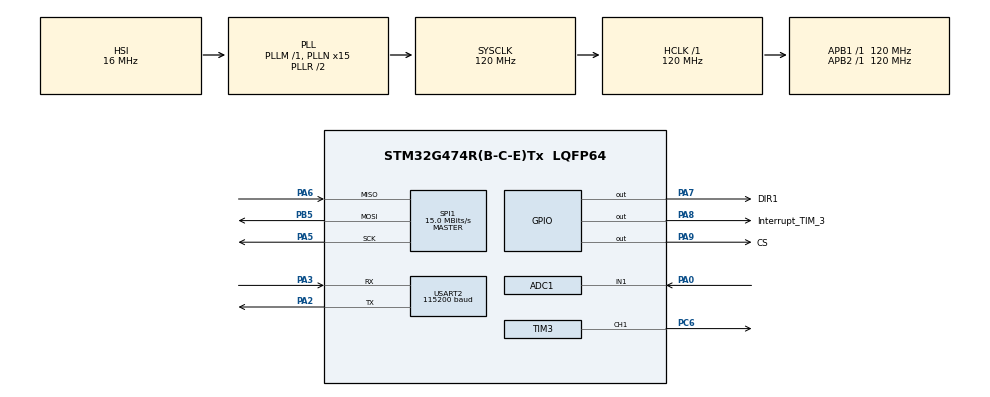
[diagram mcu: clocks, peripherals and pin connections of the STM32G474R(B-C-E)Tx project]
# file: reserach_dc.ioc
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ADC1.Channel-0\#ChannelRegularConversion=ADC_CHANNEL_1
ADC1.DMAContinuousRequests=ENABLE
ADC1.ExternalTrigConv=ADC_SOFTWARE_START
ADC1.NbrOfConversionFlag=1
ADC1.OffsetNumber-0\#ChannelRegularConversion=ADC_OFFSET_NONE
ADC1.Rank-0\#ChannelRegularConversion=1
ADC1.SamplingTime-0\#ChannelRegularConversion=ADC_SAMPLETIME_24CYCLES_5
ADC1.master=1
Dma.ADC1.0.Direction=DMA_PERIPH_TO_MEMORY
Dma.ADC1.0.EventEnable=DISABLE
Dma.ADC1.0.Instance=DMA1_Channel1
Dma.ADC1.0.MemDataAlignment=DMA_MDATAALIGN_HALFWORD
Dma.ADC1.0.MemInc=DMA_MINC_ENABLE
Dma.ADC1.0.Mode=DMA_CIRCULAR
Dma.ADC1.0.PeriphDataAlignment=DMA_PDATAALIGN_HALFWORD
Dma.ADC1.0.PeriphInc=DMA_PINC_DISABLE
Dma.ADC1.0.Polarity=HAL_DMAMUX_REQ_GEN_RISING
Dma.ADC1.0.Priority=DMA_PRIORITY_LOW
Dma.ADC1.0.RequestNumber=1
Dma.ADC1.0.SignalID=NONE
Dma.ADC1.0.SyncEnable=DISABLE
Dma.ADC1.0.SyncPolarity=HAL_DMAMUX_SYNC_NO_EVENT
Dma.ADC1.0.SyncRequestNumber=1
Dma.ADC1.0.SyncSignalID=NONE
Dma.Request0=ADC1
Mcu.Family=STM32G4
Mcu.Name=STM32G474R(B-C-E)Tx
Mcu.Package=LQFP64
NVIC.DMA1_Channel1_IRQn=true\:0\:0\:false\:false\:true\:false\:true\:true
NVIC.PriorityGroup=NVIC_PRIORITYGROUP_4
NVIC.TIM3_IRQn=true\:0\:0\:false\:false\:true\:true\:true\:true
PA0.Mode=IN1-Single-Ended
PA0.Signal=ADC1_IN1
PA13.Mode=Serial_Wire
PA13.Signal=SYS_JTMS-SWDIO
PA14.Mode=Serial_Wire
PA14.Signal=SYS_JTCK-SWCLK
PA2.Mode=Asynchronous
PA2.Signal=USART2_TX
PA3.Mode=Asynchronous
PA3.Signal=USART2_RX
PA5.Mode=Full_Duplex_Master
PA5.Signal=SPI1_SCK
PA6.Mode=Full_Duplex_Master
PA6.Signal=SPI1_MISO
PA7.GPIO_Label=DIR1
PA7.Signal=GPIO_Output
PA8.GPIO_Label=Interrupt_TIM_3
PA8.Signal=GPIO_Output
PA9.GPIO_Label=CS
PA9.GPIO_Speed=GPIO_SPEED_FREQ_VERY_HIGH
PA9.Signal=GPIO_Output
PB5.Mode=Full_Duplex_Master
PB5.Signal=SPI1_MOSI
PC6.Signal=S_TIM3_CH1
PF0-OSC_IN.Mode=HSE-External-Oscillator
PF0-OSC_IN.Signal=RCC_OSC_IN
PF1-OSC_OUT.Mode=HSE-External-Oscillator
PF1-OSC_OUT.Signal=RCC_OSC_OUT
ProjectManager.HeapSize=0x200
ProjectManager.StackSize=0x400
ProjectManager.TargetToolchain=STM32CubeIDE
RCC.ADC12Freq_Value=120000000
RCC.ADC345Freq_Value=120000000
RCC.AHBFreq_Value=120000000
RCC.APB1Freq_Value=120000000
RCC.APB1TimFreq_Value=120000000
RCC.APB2Freq_Value=120000000
RCC.APB2TimFreq_Value=120000000
RCC.CortexFreq_Value=120000000
RCC.EXTERNAL_CLOCK_VALUE=12288000
RCC.HCLKFreq_Value=120000000
RCC.HSE_VALUE=8000000
RCC.HSI48_VALUE=48000000
RCC.HSI_VALUE=16000000
RCC.LSE_VALUE=32768
RCC.PLLN=15
RCC.SYSCLKFreq_VALUE=120000000
RCC.SYSCLKSource=RCC_SYSCLKSOURCE_PLLCLK
RCC.USBFreq_Value=120000000
RCC.VCOOutputFreq_Value=240000000
SH.S_TIM3_CH1.0=TIM3_CH1,PWM Generation1 CH1
SPI1.BaudRatePrescaler=SPI_BAUDRATEPRESCALER_8
SPI1.CLKPhase=SPI_PHASE_2EDGE
SPI1.CLKPolarity=SPI_POLARITY_LOW
SPI1.CalculateBaudRate=15.0 MBits/s
SPI1.DataSize=SPI_DATASIZE_16BIT
SPI1.Direction=SPI_DIRECTION_2LINES
SPI1.Mode=SPI_MODE_MASTER
SPI1.VirtualType=VM_MASTER
TIM3.Channel-PWM\ Generation1\ CH1=TIM_CHANNEL_1
TIM3.PeriodNoDither=999
TIM3.Prescaler=11
TIM3.PulseNoDither_1=500
TIM3.TIM_MasterOutputTrigger=TIM_TRGO_UPDATE
USART2.BaudRate=115200
USART2.VirtualMode-Asynchronous=VM_ASYNC
VP_SYS_VS_DBSignals.Mode=DisableDeadBatterySignals
VP_TIM3_VS_ClockSourceINT.Mode=Internal
board=custom

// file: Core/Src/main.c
/* USER CODE BEGIN Header */
/**
  ******************************************************************************
  * @file           : main.c
  * @brief          : Main program body
  ******************************************************************************
  * @attention
  *
  * Copyright (c) 2025 STMicroelectronics.
  * All rights reserved.
  *
  * This software is licensed under terms that can be found in the LICENSE file
  * in the root directory of this software component.
  * If no LICENSE file comes with this software, it is provided AS-IS.
  *
  ******************************************************************************
  */
/* USER CODE END Header */
#include "main.h"

/* USER CODE BEGIN Includes */
#include <stdio.h> // для vsnprintf
#include <stdarg.h> // для va_list, va_start, va_end
#include <string.h> // для strlen
#include <stdlib.h> // math_lib
#include <math.h> // if (fabsf(delta_grad) > 180.0f)
/* USER CODE END Includes */

/* USER CODE BEGIN PD */
#define adc_arr_n 1
#define adc_count_n 10
/* USER CODE END PD */

ADC_HandleTypeDef hadc1;
DMA_HandleTypeDef hdma_adc1;

SPI_HandleTypeDef hspi1;

TIM_HandleTypeDef htim3;

UART_HandleTypeDef huart2;

/* USER CODE BEGIN PV */

//Чтение АЦП
uint16_t adcbuf[adc_arr_n]; // здесь массив значений ацп
uint16_t adc_accum = 0;
float Vref = 3.3f;
float adcdiskr = 4095.0f;
float sens_cur = 0.185f; //ACS712 5A
float Vzero = 2.5f;
float Vadc_zero;
float Vadc;
float I;
float offset;

//Счётчики
uint16_t adc_count = 0;

//Флаги
uint8_t  tick;
uint8_t	 ticks_init;
uint8_t  buffer_complete; // флаг на то, что массив готов

//SPI
uint16_t command, feedback;

//Расчет угла и скорости
float prev_angle_deg = 0.0f;
float delta = 0.0f;
uint16_t meow = 0 ; // отладочная переменная для тиков
float angle_deg = 0;
float delta_grad = 0.0f;

//-------Контур тока--------
float i_ref;

//Te = 0.001

//float Kp_i = 0.3818;
//float Ki_i = 0.1234;

//Te = 0.01

//float Kp_i = 0.0118;
//float Ki_i = 0.0038;

//Te = 0.05

float Kp_i = 0.0024;
float Ki_i = 7.6364e-4;

float er_i;
float u_i;
float Int_e_i = 0.0f;

// ----------Контур скорости--------------
//default
float n_ref;
float Kp = 4.55e-5f;
float Ki = 2.6e-6f;
float er;
float u;
float Int_e = 0.0f;
uint16_t tick_counter = 0;

//для Te = 0.05
float о = 0.25;
float Kp_w = 0.0032;
float Ki_w = 0.00001f;
float Int_e_w = 0.0f;

//Отладочные переменные
uint8_t adc_fault_init_calibr = 0;
uint8_t adc_start_failed = 0;
uint8_t calibration_poll_timeout = 0;
uint8_t calibration_done = 0;
uint8_t reinit = 0;

/* USER CODE END PV */

void SystemClock_Config(void);
static void MX_GPIO_Init(void);
static void MX_DMA_Init(void);
static void MX_ADC1_Init(void);
static void MX_TIM3_Init(void);
static void MX_USART2_UART_Init(void);
static void MX_SPI1_Init(void);
/* USER CODE BEGIN PFP */

//для print по usart, обращаем внимание на выбранный usart
void uprintf(const char *fmt, ...) {
    char buffer[128]; // временный буфер
    va_list args;
    va_start(args, fmt);
    vsnprintf(buffer, sizeof(buffer), fmt, args);
    va_end(args);
    HAL_UART_Transmit(&huart2, (uint8_t*)buffer, strlen(buffer), HAL_MAX_DELAY);
}

//функция sign

float sign(float x) {
    if (x > 0) return 1.0f;
    if (x < 0) return -1.0f;
    return 0.0f;
}
//функция инициализирует угол. то есть до начала цикла в переменной предыдущего угла кладется значение с энкодера
 float Prev_angle_Init () {

		command = 0xFFFF;
		HAL_GPIO_WritePin(GPIOA, GPIO_PIN_9, GPIO_PIN_RESET); // CS LOW
		HAL_SPI_TransmitReceive(&hspi1, (uint8_t*)&command, (uint8_t*)&feedback, 1, 100);
		HAL_GPIO_WritePin(GPIOA, GPIO_PIN_9, GPIO_PIN_SET);   // CS HIGH

		command = 0xFFFF;
		HAL_GPIO_WritePin(GPIOA, GPIO_PIN_9, GPIO_PIN_RESET); // CS LOW
		HAL_SPI_TransmitReceive(&hspi1, (uint8_t*)&command, (uint8_t*)&feedback, 1, 100);
		HAL_GPIO_WritePin(GPIOA, GPIO_PIN_9, GPIO_PIN_SET);   // CS HIGH

		uint16_t raw = feedback & 0x3FFF; // 14 бит
		angle_deg = (raw * 360.0f) / 16384.0f;
		prev_angle_deg = angle_deg;

	  return (prev_angle_deg);
}
// функция выбора направления двигателя в зависимости от знака управления
void mode_direction(float u){
	if (u >= 0.0f){
		HAL_GPIO_WritePin(GPIOA, DIR1_Pin, GPIO_PIN_RESET); //forward
		}
	else {
		HAL_GPIO_WritePin(GPIOA, DIR1_Pin, GPIO_PIN_SET); //reverse
	}
}

void mode_direction_i(float u_i){
	if (u_i >= 0.0f){
		HAL_GPIO_WritePin(GPIOA, DIR1_Pin, GPIO_PIN_RESET); //forward
		}
	else {
		HAL_GPIO_WritePin(GPIOA, DIR1_Pin, GPIO_PIN_SET); //reverse
	}
}
// функция ограничения интеграла и управления

float saturation(float x, float y){
if (fabsf(x) >= y){
	x = y * sign(x);
}
return x;
}

float ADC_autocalibrate(void)
{
    // --- сохранить старые настройки ---
    uint32_t oldTrig    = hadc1.Init.ExternalTrigConv;
    uint32_t oldTrigEdge = hadc1.Init.ExternalTrigConvEdge;

    // --- временно софтовый запуск ---
    hadc1.Init.ExternalTrigConv     = ADC_SOFTWARE_START;
    hadc1.Init.ExternalTrigConvEdge = ADC_EXTERNALTRIGCONVEDGE_NONE;
    if (HAL_ADC_Init(&hadc1) != HAL_OK) {
       adc_fault_init_calibr = 1;

        return 0.0f;
    }

	uint32_t adc_value_calibr = 0;
	int i;
	for (i = 0; i < 200; i++) {
        if (HAL_ADC_Start(&hadc1) != HAL_OK) {
        	adc_start_failed = 1;
            continue;
        }

	    if (HAL_ADC_PollForConversion(&hadc1, 10) != HAL_OK) {
	    	calibration_poll_timeout = 1;
	        continue;
	    }

	    adc_value_calibr += HAL_ADC_GetValue(&hadc1);

	  }
	  float adc_zero_value = (float)adc_value_calibr / 200.0f;
	  Vadc_zero = (adc_zero_value / adcdiskr) * Vref;
	  calibration_done = 1;

	  // --- вернуть старые настройки (TIM3 TRGO) ---
	 hadc1.Init.ExternalTrigConv     = oldTrig;
	 hadc1.Init.ExternalTrigConvEdge = oldTrigEdge;
	  if (HAL_ADC_Init(&hadc1) != HAL_OK) {
	    reinit = 1;
	    }
	  return Vadc_zero;

}

/* USER CODE END PFP */

int main(void)
{

  /* MCU Configuration--------------------------------------------------------*/

  /* Reset of all peripherals, Initializes the Flash interface and the Systick. */
  HAL_Init();

  /* Configure the system clock */
  SystemClock_Config();

  /* Initialize all configured peripherals */
  MX_GPIO_Init();
  MX_DMA_Init();
  MX_ADC1_Init();
  MX_TIM3_Init();
  MX_USART2_UART_Init();
  MX_SPI1_Init();
  /* USER CODE BEGIN 2 */

  Vadc_zero = ADC_autocalibrate();
  HAL_ADCEx_Calibration_Start(&hadc1, ADC_SINGLE_ENDED);
  HAL_ADC_Start_DMA(&hadc1, (uint32_t*)adcbuf, adc_arr_n);
  HAL_TIM_Base_Start_IT(&htim3);
  HAL_TIM_PWM_Start(&htim3, TIM_CHANNEL_1);

// вызов функция инициализации предыдущего угла
 //prev_angle_deg = Prev_angle_Init(); // кладем в prev_angle_deg угол, переменная != 0

  /* USER CODE END 2 */

  /* Infinite loop */
  /* USER CODE BEGIN WHILE */
  while (1)
  {
	  if (buffer_complete) {
	 			buffer_complete = 0;
	 			adc_count++;
	 			adc_accum += adcbuf[0];

	 			if (adc_count >= adc_count_n){
	 				uint16_t adc_average = (uint16_t)(adc_accum / adc_count_n);

	 				adc_count = 0;
	 				adc_accum = 0;

	 				Vadc = (adc_average / adcdiskr) * Vref;
	 				 I = (Vadc - Vadc_zero) / sens_cur;
	 			}
	  }
//static uint16_t uart_div = 0; // uart в цикле не юзать
// apb1 = 120 кГц; arr = 999; prescaler = 11 -> 10кГц
	  if(tick) {
		  tick = 0;
		  meow ++; // отладка
		  tick_counter ++; // переменная для чтения скорости на частоте, которая ниже чем у таймера
		  //----------счет угла------------------------------------
		  command = 0xFFFF; // READ ANGLE
		  HAL_GPIO_WritePin(GPIOA, GPIO_PIN_9, GPIO_PIN_RESET); // CS LOW
		  HAL_SPI_TransmitReceive(&hspi1, (uint8_t*)&command, (uint8_t*)&feedback, 1, 100);
		  HAL_GPIO_WritePin(GPIOA, GPIO_PIN_9, GPIO_PIN_SET);   // CS HIGH

		  uint16_t raw = feedback & 0x3FFF; // 14 бит
		  angle_deg = (raw * 360.0f) / 16384.0f;

		  //------------------------current----------------------------
	   	  er_i = i_ref - I;
		  Int_e_i += Ki_i * er_i;
   		  Int_e_i = saturation(Int_e_i, 0.95f);
		  u_i = Kp_i * er_i + Int_e_i;
		  u_i = saturation(u_i, 0.95f);
		  uint32_t arr = __HAL_TIM_GET_AUTORELOAD(&htim3);
		  mode_direction_i(u_i);

		  uint32_t pulse = (uint32_t)(fabsf(u_i) * (arr + 1));
		  __HAL_TIM_SET_COMPARE(&htim3, TIM_CHANNEL_1, pulse);
		  }
		  //-----------------------------------------------------

	  //---------------ПИ -регулятор и чтение скорости на частоте-------------------
	  if (tick_counter >= 20) {
		  tick_counter = 0;

		  delta_grad = (angle_deg - prev_angle_deg); //
// нужно убрать пульсации при расчете скорости. для этотго выше мы определяем дельту исключительно как разность текущего и предыдущего
// когда оборот проходит 360 градусов, разность текущего и предыдущего становится максимальной так как вычитается 0.
// корректируем в соответствии со знаком
		  // if (fabsf(delta_grad) > 180.0f)
		  if (abs(delta_grad) > 180.0f){
			  delta_grad = delta_grad - 360.0f * sign(delta_grad); //легендарная формула
		  }
		  delta = (delta_grad * 500.0f) * 60.0f / 360.0f; //об/мин
		  prev_angle_deg = angle_deg;

		  er = n_ref - delta;
		  Int_e_w += Ki_w * er;
		  Int_e_w = saturation(Int_e_w, 2.0f);
		  i_ref = Kp_w * er + Int_e_w;
		  i_ref = saturation(i_ref, 2.0f);

		  /*Int_e += Ki * er;
		  Int_e = saturation(Int_e);
		  u = Kp * er + Int_e;
		  u = saturation(u);
		  uint32_t arr = __HAL_TIM_GET_AUTORELOAD(&htim3);
		  mode_direction(u);

		  uint32_t pulse = (uint32_t)(fabsf(u) * (arr + 1));
		  __HAL_TIM_SET_COMPARE(&htim3, TIM_CHANNEL_1, pulse); */

	  }

    /* USER CODE END WHILE */

  }
}

void SystemClock_Config(void)
{
  RCC_OscInitTypeDef RCC_OscInitStruct = {0};
  RCC_ClkInitTypeDef RCC_ClkInitStruct = {0};

  /** Configure the main internal regulator output voltage
  */
  HAL_PWREx_ControlVoltageScaling(PWR_REGULATOR_VOLTAGE_SCALE1);

  /** Initializes the RCC Oscillators according to the specified parameters
  * in the RCC_OscInitTypeDef structure.
  */
  RCC_OscInitStruct.OscillatorType = RCC_OSCILLATORTYPE_HSI;
  RCC_OscInitStruct.HSIState = RCC_HSI_ON;
  RCC_OscInitStruct.HSICalibrationValue = RCC_HSICALIBRATION_DEFAULT;
  RCC_OscInitStruct.PLL.PLLState = RCC_PLL_ON;
  RCC_OscInitStruct.PLL.PLLSource = RCC_PLLSOURCE_HSI;
  RCC_OscInitStruct.PLL.PLLM = RCC_PLLM_DIV1;
  RCC_OscInitStruct.PLL.PLLN = 15;
  RCC_OscInitStruct.PLL.PLLP = RCC_PLLP_DIV2;
  RCC_OscInitStruct.PLL.PLLQ = RCC_PLLQ_DIV2;
  RCC_OscInitStruct.PLL.PLLR = RCC_PLLR_DIV2;
  if (HAL_RCC_OscConfig(&RCC_OscInitStruct) != HAL_OK)
  {
    Error_Handler();
  }

  /** Initializes the CPU, AHB and APB buses clocks
  */
  RCC_ClkInitStruct.ClockType = RCC_CLOCKTYPE_HCLK|RCC_CLOCKTYPE_SYSCLK
                              |RCC_CLOCKTYPE_PCLK1|RCC_CLOCKTYPE_PCLK2;
  RCC_ClkInitStruct.SYSCLKSource = RCC_SYSCLKSOURCE_PLLCLK;
  RCC_ClkInitStruct.AHBCLKDivider = RCC_SYSCLK_DIV1;
  RCC_ClkInitStruct.APB1CLKDivider = RCC_HCLK_DIV1;
  RCC_ClkInitStruct.APB2CLKDivider = RCC_HCLK_DIV1;

  if (HAL_RCC_ClockConfig(&RCC_ClkInitStruct, FLASH_LATENCY_3) != HAL_OK)
  {
    Error_Handler();
  }
}

static void MX_ADC1_Init(void)
{

  ADC_MultiModeTypeDef multimode = {0};
  ADC_ChannelConfTypeDef sConfig = {0};

  /** Common config
  */
  hadc1.Instance = ADC1;
  hadc1.Init.ClockPrescaler = ADC_CLOCK_SYNC_PCLK_DIV2;
  hadc1.Init.Resolution = ADC_RESOLUTION_12B;
  hadc1.Init.DataAlign = ADC_DATAALIGN_RIGHT;
  hadc1.Init.GainCompensation = 0;
  hadc1.Init.ScanConvMode = ADC_SCAN_DISABLE;
  hadc1.Init.EOCSelection = ADC_EOC_SINGLE_CONV;
  hadc1.Init.LowPowerAutoWait = DISABLE;
  hadc1.Init.ContinuousConvMode = DISABLE;
  hadc1.Init.NbrOfConversion = 1;
  hadc1.Init.DiscontinuousConvMode = DISABLE;
  hadc1.Init.ExternalTrigConv = ADC_EXTERNALTRIG_T3_TRGO;
  hadc1.Init.ExternalTrigConvEdge = ADC_EXTERNALTRIGCONVEDGE_RISING;
  hadc1.Init.DMAContinuousRequests = ENABLE;
  hadc1.Init.Overrun = ADC_OVR_DATA_PRESERVED;
  hadc1.Init.OversamplingMode = DISABLE;
  if (HAL_ADC_Init(&hadc1) != HAL_OK)
  {
    Error_Handler();
  }

  /** Configure the ADC multi-mode
  */
  multimode.Mode = ADC_MODE_INDEPENDENT;
  if (HAL_ADCEx_MultiModeConfigChannel(&hadc1, &multimode) != HAL_OK)
  {
    Error_Handler();
  }

  /** Configure Regular Channel
  */
  sConfig.Channel = ADC_CHANNEL_1;
  sConfig.Rank = ADC_REGULAR_RANK_1;
  sConfig.SamplingTime = ADC_SAMPLETIME_24CYCLES_5;
  sConfig.SingleDiff = ADC_SINGLE_ENDED;
  sConfig.OffsetNumber = ADC_OFFSET_NONE;
  sConfig.Offset = 0;
  if (HAL_ADC_ConfigChannel(&hadc1, &sConfig) != HAL_OK)
  {
    Error_Handler();
  }

}

static void MX_SPI1_Init(void)
{

  /* SPI1 parameter configuration*/
  hspi1.Instance = SPI1;
  hspi1.Init.Mode = SPI_MODE_MASTER;
  hspi1.Init.Direction = SPI_DIRECTION_2LINES;
  hspi1.Init.DataSize = SPI_DATASIZE_16BIT;
  hspi1.Init.CLKPolarity = SPI_POLARITY_LOW;
  hspi1.Init.CLKPhase = SPI_PHASE_2EDGE;
  hspi1.Init.NSS = SPI_NSS_SOFT;
  hspi1.Init.BaudRatePrescaler = SPI_BAUDRATEPRESCALER_8;
  hspi1.Init.FirstBit = SPI_FIRSTBIT_MSB;
  hspi1.Init.TIMode = SPI_TIMODE_DISABLE;
  hspi1.Init.CRCCalculation = SPI_CRCCALCULATION_DISABLE;
  hspi1.Init.CRCPolynomial = 7;
  hspi1.Init.CRCLength = SPI_CRC_LENGTH_DATASIZE;
  hspi1.Init.NSSPMode = SPI_NSS_PULSE_DISABLE;
  if (HAL_SPI_Init(&hspi1) != HAL_OK)
  {
    Error_Handler();
  }

}

static void MX_TIM3_Init(void)
{

  TIM_ClockConfigTypeDef sClockSourceConfig = {0};
  TIM_MasterConfigTypeDef sMasterConfig = {0};
  TIM_OC_InitTypeDef sConfigOC = {0};

  htim3.Instance = TIM3;
  htim3.Init.Prescaler = 11;
  htim3.Init.CounterMode = TIM_COUNTERMODE_UP;
  htim3.Init.Period = 999;
  htim3.Init.ClockDivision = TIM_CLOCKDIVISION_DIV1;
  htim3.Init.AutoReloadPreload = TIM_AUTORELOAD_PRELOAD_DISABLE;
  if (HAL_TIM_Base_Init(&htim3) != HAL_OK)
  {
    Error_Handler();
  }
  sClockSourceConfig.ClockSource = TIM_CLOCKSOURCE_INTERNAL;
  if (HAL_TIM_ConfigClockSource(&htim3, &sClockSourceConfig) != HAL_OK)
  {
    Error_Handler();
  }
  if (HAL_TIM_PWM_Init(&htim3) != HAL_OK)
  {
    Error_Handler();
  }
  sMasterConfig.MasterOutputTrigger = TIM_TRGO_UPDATE;
  sMasterConfig.MasterSlaveMode = TIM_MASTERSLAVEMODE_DISABLE;
  if (HAL_TIMEx_MasterConfigSynchronization(&htim3, &sMasterConfig) != HAL_OK)
  {
    Error_Handler();
  }
  sConfigOC.OCMode = TIM_OCMODE_PWM1;
  sConfigOC.Pulse = 500;
  sConfigOC.OCPolarity = TIM_OCPOLARITY_HIGH;
  sConfigOC.OCFastMode = TIM_OCFAST_DISABLE;
  if (HAL_TIM_PWM_ConfigChannel(&htim3, &sConfigOC, TIM_CHANNEL_1) != HAL_OK)
  {
    Error_Handler();
  }
  HAL_TIM_MspPostInit(&htim3);

}

static void MX_USART2_UART_Init(void)
{

  huart2.Instance = USART2;
  huart2.Init.BaudRate = 115200;
  huart2.Init.WordLength = UART_WORDLENGTH_8B;
  huart2.Init.StopBits = UART_STOPBITS_1;
  huart2.Init.Parity = UART_PARITY_NONE;
  huart2.Init.Mode = UART_MODE_TX_RX;
  huart2.Init.HwFlowCtl = UART_HWCONTROL_NONE;
  huart2.Init.OverSampling = UART_OVERSAMPLING_16;
  huart2.Init.OneBitSampling = UART_ONE_BIT_SAMPLE_DISABLE;
  huart2.Init.ClockPrescaler = UART_PRESCALER_DIV1;
  huart2.AdvancedInit.AdvFeatureInit = UART_ADVFEATURE_NO_INIT;
  if (HAL_UART_Init(&huart2) != HAL_OK)
  {
    Error_Handler();
  }
  if (HAL_UARTEx_SetTxFifoThreshold(&huart2, UART_TXFIFO_THRESHOLD_1_8) != HAL_OK)
  {
    Error_Handler();
  }
  if (HAL_UARTEx_SetRxFifoThreshold(&huart2, UART_RXFIFO_THRESHOLD_1_8) != HAL_OK)
  {
    Error_Handler();
  }
  if (HAL_UARTEx_DisableFifoMode(&huart2) != HAL_OK)
  {
    Error_Handler();
  }

}

static void MX_DMA_Init(void)
{

  /* DMA controller clock enable */
  __HAL_RCC_DMAMUX1_CLK_ENABLE();
  __HAL_RCC_DMA1_CLK_ENABLE();

  /* DMA interrupt init */
  /* DMA1_Channel1_IRQn interrupt configuration */
  HAL_NVIC_SetPriority(DMA1_Channel1_IRQn, 0, 0);
  HAL_NVIC_EnableIRQ(DMA1_Channel1_IRQn);

}

static void MX_GPIO_Init(void)
{
  GPIO_InitTypeDef GPIO_InitStruct = {0};

  /* GPIO Ports Clock Enable */
  __HAL_RCC_GPIOF_CLK_ENABLE();
  __HAL_RCC_GPIOA_CLK_ENABLE();
  __HAL_RCC_GPIOC_CLK_ENABLE();
  __HAL_RCC_GPIOB_CLK_ENABLE();

  /*Configure GPIO pin Output Level */
  HAL_GPIO_WritePin(GPIOA, DIR1_Pin|Interrupt_TIM_3_Pin|CS_Pin, GPIO_PIN_RESET);

  /*Configure GPIO pins : DIR1_Pin Interrupt_TIM_3_Pin */
  GPIO_InitStruct.Pin = DIR1_Pin|Interrupt_TIM_3_Pin;
  GPIO_InitStruct.Mode = GPIO_MODE_OUTPUT_PP;
  GPIO_InitStruct.Pull = GPIO_NOPULL;
  GPIO_InitStruct.Speed = GPIO_SPEED_FREQ_LOW;
  HAL_GPIO_Init(GPIOA, &GPIO_InitStruct);

  /*Configure GPIO pin : CS_Pin */
  GPIO_InitStruct.Pin = CS_Pin;
  GPIO_InitStruct.Mode = GPIO_MODE_OUTPUT_PP;
  GPIO_InitStruct.Pull = GPIO_NOPULL;
  GPIO_InitStruct.Speed = GPIO_SPEED_FREQ_VERY_HIGH;
  HAL_GPIO_Init(CS_GPIO_Port, &GPIO_InitStruct);

}

/* USER CODE BEGIN 4 */
void HAL_TIM_PeriodElapsedCallback(TIM_HandleTypeDef *htim)
{
    if (htim->Instance == TIM3)
    {
    	tick = 1;
    	ticks_init ++;

    }
}

void HAL_ADC_ConvCpltCallback(ADC_HandleTypeDef* hadc)
{
    if (hadc->Instance == ADC1) {
        buffer_complete = 1;

    }
}
/* USER CODE END 4 */

void Error_Handler(void)
{
  __disable_irq();
  while (1)
  {
  }
}
